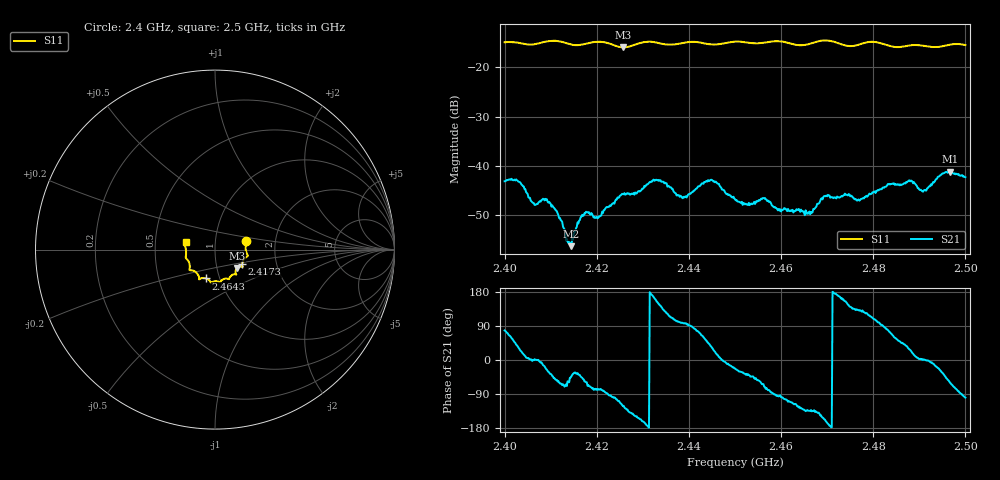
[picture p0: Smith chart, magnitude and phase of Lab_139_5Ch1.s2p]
# Hz S RI R 50
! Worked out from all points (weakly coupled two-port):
!   601 points, 2.4 GHz to 2.5 GHz, reference 50 ohm
!   highest |S21| = -41.18 dB at 2.4967 GHz (marker M1); lowest = -56.3 dB at 2.4145 GHz (marker M2)
!   lowest |S11| = -15.9 dB at 2.4257 GHz (marker M3), VSWR 1.38, Z = 62.5 - j13.1 ohm
!   |S11| at or under -10 dB: start of sweep to end of sweep
!   S12 and S22 are empty: the file has one direction only
!   S11 on the Smith chart (normalised r, x): 2.4 GHz: 1.41, +0.14; 2.4173 GHz: 1.34, -0.23; 2.4643 GHz: 0.86, -0.28; 2.5 GHz: 0.72, +0.06
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2.4e9  0.1736 0.0486  0.00146 0.00683  0 0  0 0
2.403e9  0.1748 0.034  0.0058 0.00378  0 0  0 0
2.4065e9  0.1719 -0.00474  0.00402 0.000149  0 0  0 0
2.409333e9  0.182 -0.031  0.0038 -0.00209  0 0  0 0
2.4145e9  0.163 -0.0511  0.00112 -0.00104  0 0  0 0
2.416667e9  0.1529 -0.0747  0.00214 -0.00218  0 0  0 0
2.417333e9  0.152 -0.0821  0.00183 -0.00277  0 0  0 0
2.4205e9  0.154 -0.0977  0.000648 -0.00301  0 0  0 0
2.425667e9  0.1228 -0.1026  -0.00273 -0.0044  0 0  0 0
2.433333e9  0.1123 -0.1372  -0.0062 0.00365  0 0  0 0
2.439e9  0.0802 -0.1592  -0.000597 0.00476  0 0  0 0
2.445e9  0.0555 -0.1622  0.00607 0.00386  0 0  0 0
2.45e9  0.0285 -0.1808  0.00425 -0.00174  0 0  0 0
2.464333e9  -0.0498 -0.1606  -0.00215 -0.00289  0 0  0 0
2.466667e9  -0.0759 -0.1592  -0.00239 -0.00234  0 0  0 0
2.469667e9  -0.0886 -0.166  -0.00465 -0.00164  0 0  0 0
2.476833e9  -0.1246 -0.1162  -0.00305 0.00341  0 0  0 0
2.483333e9  -0.1403 -0.0898  0.00149 0.00634  0 0  0 0
2.488e9  -0.1599 -0.0507  0.00624 0.00313  0 0  0 0
2.491e9  -0.1622 -0.0345  0.00567 0.000124  0 0  0 0
2.496667e9  -0.1687 0.025  0.00438 -0.00755  0 0  0 0
2.5e9  -0.1635 0.0425  -0.00125 -0.00757  0 0  0 0
